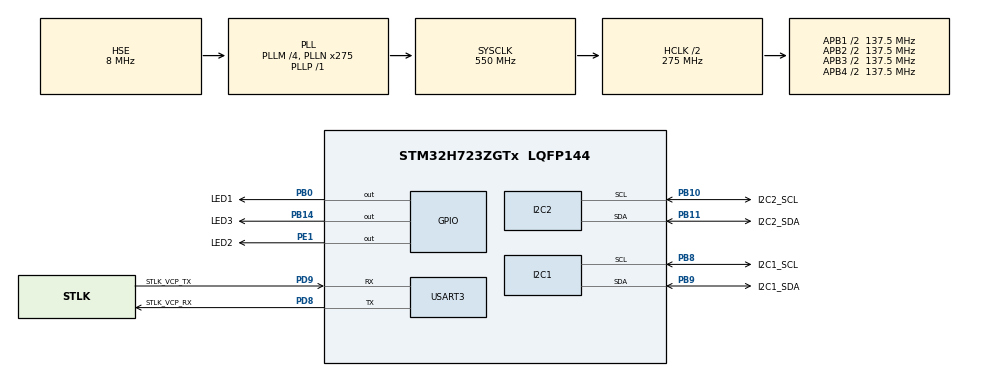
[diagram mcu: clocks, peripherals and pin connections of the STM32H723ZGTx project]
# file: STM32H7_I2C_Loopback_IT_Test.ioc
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I2C1.AddressingMode=I2C_ADDRESSINGMODE_7BIT
I2C1.GeneralCallMode=I2C_GENERALCALL_DISABLE
I2C1.NoStretchMode=I2C_NOSTRETCH_DISABLE
I2C1.OwnAddress1=0
I2C1.Timing=0x60404E72
I2C2.AddressingMode=I2C_ADDRESSINGMODE_7BIT
I2C2.GeneralCallMode=I2C_GENERALCALL_DISABLE
I2C2.NoStretchMode=I2C_NOSTRETCH_DISABLE
I2C2.OwnAddress1=96
I2C2.Timing=0x60404E72
Mcu.Family=STM32H7
Mcu.Name=STM32H723ZGTx
Mcu.Package=LQFP144
NVIC.I2C1_ER_IRQn=true\:0\:0\:false\:false\:true\:true\:true\:true
NVIC.I2C1_EV_IRQn=true\:0\:0\:false\:false\:true\:true\:true\:true
NVIC.I2C2_ER_IRQn=true\:0\:0\:false\:false\:true\:true\:true\:true
NVIC.I2C2_EV_IRQn=true\:0\:0\:false\:false\:true\:true\:true\:true
NVIC.PriorityGroup=NVIC_PRIORITYGROUP_4
PA13(JTMS/SWDIO).GPIO_Label=SWDIO
PA13(JTMS/SWDIO).Mode=Trace_Asynchronous_SW
PA13(JTMS/SWDIO).Signal=DEBUG_JTMS-SWDIO
PA14(JTCK/SWCLK).GPIO_Label=SWCLK
PA14(JTCK/SWCLK).Mode=Trace_Asynchronous_SW
PA14(JTCK/SWCLK).Signal=DEBUG_JTCK-SWCLK
PB0.GPIO_Label=LED1
PB0.Signal=GPIO_Output
PB10.GPIO_Label=I2C2_SCL
PB10.GPIO_Pu=GPIO_PULLUP
PB10.Mode=I2C
PB10.Signal=I2C2_SCL
PB11.GPIO_Label=I2C2_SDA
PB11.GPIO_Pu=GPIO_PULLUP
PB11.Mode=I2C
PB11.Signal=I2C2_SDA
PB14.GPIO_Label=LED3
PB14.Signal=GPIO_Output
PB3(JTDO/TRACESWO).GPIO_Label=SWO
PB3(JTDO/TRACESWO).Mode=Trace_Asynchronous_SW
PB3(JTDO/TRACESWO).Signal=DEBUG_JTDO-SWO
PB8.GPIO_Label=I2C1_SCL
PB8.GPIO_Pu=GPIO_PULLUP
PB8.Mode=I2C
PB8.Signal=I2C1_SCL
PB9.GPIO_Label=I2C1_SDA
PB9.GPIO_Pu=GPIO_PULLUP
PB9.Mode=I2C
PB9.Signal=I2C1_SDA
PD8.GPIO_Label=STLK_VCP_RX
PD8.Mode=Asynchronous
PD8.Signal=USART3_TX
PD9.GPIO_Label=STLK_VCP_TX
PD9.Mode=Asynchronous
PD9.Signal=USART3_RX
PE1.GPIO_Label=LED2
PE1.Signal=GPIO_Output
PH0-OSC_IN.Mode=HSE-External-Clock-Source
PH0-OSC_IN.Signal=RCC_OSC_IN
PH1-OSC_OUT.Signal=RCC_OSC_OUT
ProjectManager.HeapSize=0x200
ProjectManager.StackSize=0x400
ProjectManager.TargetToolchain=STM32CubeIDE
RCC.ADCFreq_Value=16125000
RCC.APB1Freq_Value=137500000
RCC.APB2Freq_Value=137500000
RCC.APB3Freq_Value=137500000
RCC.APB4Freq_Value=137500000
RCC.CortexFreq_Value=550000000
RCC.D1PPRE=RCC_APB3_DIV2
RCC.D2PPRE1=RCC_APB1_DIV2
RCC.D2PPRE2=RCC_APB2_DIV2
RCC.D3PPRE=RCC_APB4_DIV2
RCC.DIVM1=4
RCC.DIVN1=275
RCC.DIVP1=1
RCC.DIVQ1=4
RCC.HCLKFreq_Value=275000000
RCC.HPRE=RCC_HCLK_DIV2
RCC.HSE_VALUE=8000000
RCC.PLLFRACN=0
RCC.PLLSourceVirtual=RCC_PLLSOURCE_HSE
RCC.SYSCLKFreq_VALUE=550000000
RCC.SYSCLKSource=RCC_SYSCLKSOURCE_PLLCLK
RCC.USBFreq_Value=137500000
USART3.VirtualMode-Asynchronous=VM_ASYNC
board=custom

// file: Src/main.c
/* USER CODE BEGIN Header */
/**
  ******************************************************************************
  * @file           : main.c
  * @brief          : Main program body
  ******************************************************************************
  * @attention
  *
  * Copyright (c) 2026 STMicroelectronics.
  * All rights reserved.
  *
  * This software is licensed under terms that can be found in the LICENSE file
  * in the root directory of this software component.
  * If no LICENSE file comes with this software, it is provided AS-IS.
  *
  ******************************************************************************
  */
/* USER CODE END Header */

#include "main.h"
#include "i2c.h"
#include "usart.h"
#include "gpio.h"

/* USER CODE BEGIN Includes */
#include <string.h>
#include <stdio.h>
/* USER CODE END Includes */

/* USER CODE BEGIN PTD */
typedef enum
{
  TEST_PASS = 0,
  TEST_ERROR,
  TEST_TIMEOUT,
  TEST_MISMATCH
} TestResult_t;
/* USER CODE END PTD */

/* USER CODE BEGIN PD */
#define I2C_ADDR        (0x30 << 1)

/* If your board LED is active low, swap SET/RESET here */
#define LED1_ON()       HAL_GPIO_WritePin(LED1_GPIO_Port, LED1_Pin, GPIO_PIN_SET)
#define LED1_OFF()      HAL_GPIO_WritePin(LED1_GPIO_Port, LED1_Pin, GPIO_PIN_RESET)

#define LED2_ON()       HAL_GPIO_WritePin(LED2_GPIO_Port, LED2_Pin, GPIO_PIN_SET)
#define LED2_OFF()      HAL_GPIO_WritePin(LED2_GPIO_Port, LED2_Pin, GPIO_PIN_RESET)

#define LED3_ON()       HAL_GPIO_WritePin(LED3_GPIO_Port, LED3_Pin, GPIO_PIN_SET)
#define LED3_OFF()      HAL_GPIO_WritePin(LED3_GPIO_Port, LED3_Pin, GPIO_PIN_RESET)
/* USER CODE END PD */

/* USER CODE BEGIN PV */
uint8_t txData[] = "HELLO_I2C";
uint8_t rxData[sizeof(txData)];

volatile uint8_t slaveRxDone = 0;
volatile uint8_t i2cError = 0;
/* USER CODE END PV */

void SystemClock_Config(void);

/* USER CODE BEGIN PFP */
static void Prepare_I2C_Test(void);
static TestResult_t Run_I2C_Test(void);
static TestResult_t Check_I2C_Data(void);
static void Recover_I2C_Bus(void);

static void Indicate_Test_Pass(void);
static void Indicate_Test_Error(void);
static void Indicate_Test_Mismatch(void);
/* USER CODE END PFP */

/* USER CODE BEGIN 0 */
int __io_putchar(int ch)
{
    HAL_UART_Transmit(&huart3, (uint8_t *)&ch, 1, HAL_MAX_DELAY);
    return ch;
}
static void Prepare_I2C_Test(void)
{
  i2cError = 0;
  slaveRxDone = 0;
  memset(rxData, 0, sizeof(rxData));
}

static TestResult_t Run_I2C_Test(void)
{
  HAL_StatusTypeDef status;
  uint32_t tickStart;
  printf("==============I2C LoopBack Test Start=========================\r\n");
  /* 1. Let I2C2 (Slave) enter receive state first */
  status = HAL_I2C_Slave_Receive_IT(&hi2c2, rxData, sizeof(rxData));
  if (status != HAL_OK)
  {
    return TEST_ERROR;
  }

  /* Small delay to ensure slave is ready */
  HAL_Delay(1);

  /* 2. Then transmit from I2C1 (Master) */
  status = HAL_I2C_Master_Transmit(&hi2c1, I2C_ADDR, txData, sizeof(txData), 1000);
  if (status != HAL_OK)
  {
    return TEST_ERROR;
  }

  /* 3. Wait for slave receive complete */
  tickStart = HAL_GetTick();
  while (slaveRxDone == 0U)
  {
    if ((HAL_GetTick() - tickStart) > 1000U)
    {
      return TEST_TIMEOUT;
    }
  }

  return TEST_PASS;
}

static TestResult_t Check_I2C_Data(void)
{
  printf("Rx Data = ");
  for (int i = 0; i < sizeof(rxData); i++)
  {
    if (rxData[i] >= 32 && rxData[i] <= 126)
    {
      printf("%c", rxData[i]);   // 可顯示字元
    }
    else
    {
      printf(".");               // 不可顯示
    }
  }
  printf("\r\n");
  if (memcmp(txData, rxData, sizeof(txData)) == 0)
  {
    return TEST_PASS;
  }
  return TEST_MISMATCH;
}

static void Recover_I2C_Bus(void)
{
  HAL_I2C_DeInit(&hi2c1);
  HAL_I2C_DeInit(&hi2c2);

  HAL_Delay(10);

  MX_I2C1_Init();
  MX_I2C2_Init();
}

static void Indicate_Test_Pass(void)
{
  LED1_ON();
  LED2_ON();
  LED3_ON();
  printf("pass\r\n");
}

static void Indicate_Test_Error(void)
{
  LED1_OFF();
  LED2_OFF();
  LED3_OFF();
  printf("fail\r\n");
}

static void Indicate_Test_Mismatch(void)
{
  LED1_ON();
  LED2_OFF();
  LED3_OFF();
}

void HAL_I2C_SlaveRxCpltCallback(I2C_HandleTypeDef *hi2c)
{
  if (hi2c->Instance == I2C2)
  {
    slaveRxDone = 1;
  }
}

void HAL_I2C_ErrorCallback(I2C_HandleTypeDef *hi2c)
{
  (void)hi2c;
  i2cError = 1;
}
/* USER CODE END 0 */

int main(void)
{
  TestResult_t testResult;

  /* MCU Configuration--------------------------------------------------------*/

  /* Reset of all peripherals, Initializes the Flash interface and the Systick. */
  HAL_Init();

  /* Configure the system clock */
  SystemClock_Config();

  /* Initialize all configured peripherals */
  MX_GPIO_Init();
  MX_I2C1_Init();
  MX_I2C2_Init();
  MX_USART3_UART_Init();

  /* USER CODE BEGIN 2 */
  LED1_OFF();
  LED2_OFF();
  LED3_OFF();
  HAL_Delay(100);
  /* USER CODE END 2 */

  /* Infinite loop */
  /* USER CODE BEGIN WHILE */
  while (1)
  {
    Prepare_I2C_Test();

    testResult = Run_I2C_Test();

    if ((testResult != TEST_PASS) || (i2cError != 0U))
    {
      Recover_I2C_Bus();
      Indicate_Test_Error();
      HAL_Delay(500);
      continue;
    }

    testResult = Check_I2C_Data();

    if (testResult == TEST_PASS)
    {
      Indicate_Test_Pass();
    }
    else
    {
      Indicate_Test_Mismatch();
    }

    HAL_Delay(500);
    /* USER CODE END WHILE */

  }
}

void SystemClock_Config(void)
{
  RCC_OscInitTypeDef RCC_OscInitStruct = {0};
  RCC_ClkInitTypeDef RCC_ClkInitStruct = {0};

  /** Supply configuration update enable
  */
  HAL_PWREx_ConfigSupply(PWR_LDO_SUPPLY);

  /** Configure the main internal regulator output voltage
  */
  __HAL_PWR_VOLTAGESCALING_CONFIG(PWR_REGULATOR_VOLTAGE_SCALE0);

  while (!__HAL_PWR_GET_FLAG(PWR_FLAG_VOSRDY)) {}

  /** Initializes the RCC Oscillators according to the specified parameters
  * in the RCC_OscInitTypeDef structure.
  */
  RCC_OscInitStruct.OscillatorType = RCC_OSCILLATORTYPE_HSE;
  RCC_OscInitStruct.HSEState = RCC_HSE_BYPASS;
  RCC_OscInitStruct.PLL.PLLState = RCC_PLL_ON;
  RCC_OscInitStruct.PLL.PLLSource = RCC_PLLSOURCE_HSE;
  RCC_OscInitStruct.PLL.PLLM = 4;
  RCC_OscInitStruct.PLL.PLLN = 275;
  RCC_OscInitStruct.PLL.PLLP = 1;
  RCC_OscInitStruct.PLL.PLLQ = 4;
  RCC_OscInitStruct.PLL.PLLR = 2;
  RCC_OscInitStruct.PLL.PLLRGE = RCC_PLL1VCIRANGE_1;
  RCC_OscInitStruct.PLL.PLLVCOSEL = RCC_PLL1VCOWIDE;
  RCC_OscInitStruct.PLL.PLLFRACN = 0;

  if (HAL_RCC_OscConfig(&RCC_OscInitStruct) != HAL_OK)
  {
    Error_Handler();
  }

  /** Initializes the CPU, AHB and APB buses clocks
  */
  RCC_ClkInitStruct.ClockType = RCC_CLOCKTYPE_HCLK | RCC_CLOCKTYPE_SYSCLK
                              | RCC_CLOCKTYPE_PCLK1 | RCC_CLOCKTYPE_PCLK2
                              | RCC_CLOCKTYPE_D3PCLK1 | RCC_CLOCKTYPE_D1PCLK1;
  RCC_ClkInitStruct.SYSCLKSource = RCC_SYSCLKSOURCE_PLLCLK;
  RCC_ClkInitStruct.SYSCLKDivider = RCC_SYSCLK_DIV1;
  RCC_ClkInitStruct.AHBCLKDivider = RCC_HCLK_DIV2;
  RCC_ClkInitStruct.APB3CLKDivider = RCC_APB3_DIV2;
  RCC_ClkInitStruct.APB1CLKDivider = RCC_APB1_DIV2;
  RCC_ClkInitStruct.APB2CLKDivider = RCC_APB2_DIV2;
  RCC_ClkInitStruct.APB4CLKDivider = RCC_APB4_DIV2;

  if (HAL_RCC_ClockConfig(&RCC_ClkInitStruct, FLASH_LATENCY_3) != HAL_OK)
  {
    Error_Handler();
  }
}

void Error_Handler(void)
{
  __disable_irq();
  while (1)
  {
  }
}
